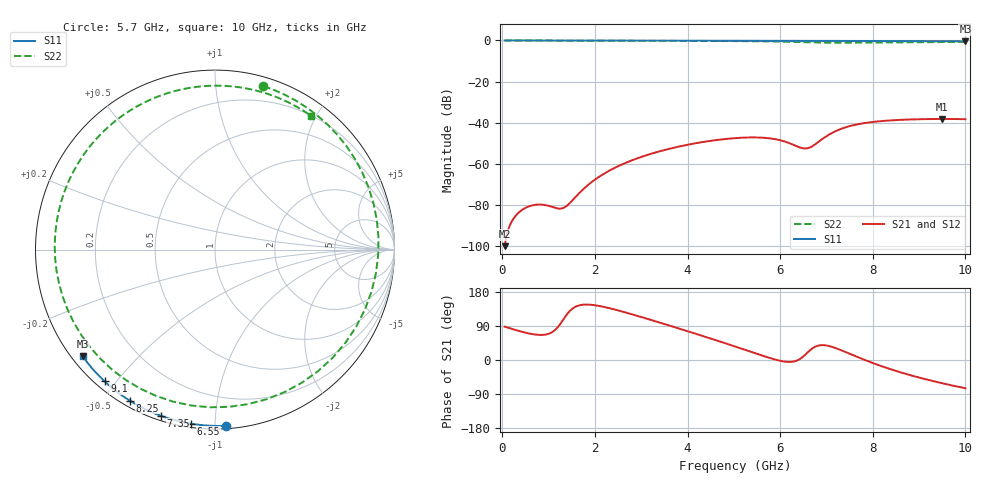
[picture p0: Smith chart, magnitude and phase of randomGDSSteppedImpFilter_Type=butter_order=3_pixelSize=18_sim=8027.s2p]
! freq	dB(S11)	phase(S11)	dB(S12)	phase(S12)
!  dB(S21)	phase(S21)	dB(S22)	phase(S22)
!S-par simulation data
#  GHz  S  DB  R 50
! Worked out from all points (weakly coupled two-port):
!   200 points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, 50 MHz to 10 GHz, reference 50 ohm
!   highest |S21| = -38.19 dB at 9.5 GHz (marker M1); lowest = -100.1 dB at 50 MHz (marker M2)
!   lowest |S11| = -0.5 dB at 10 GHz (marker M3), VSWR 36.68, Z = 1.53 - j17.6 ohm
!   |S11| at or under -10 dB: nowhere
!   |S22| runs from -1.1 to 0.0 dB; largest |S21 - S12| = 0
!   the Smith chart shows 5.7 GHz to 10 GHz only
!   S11 on the Smith chart (normalised r, x): 5.7 GHz: 0.02, -1.06; 6.55 GHz: 0.02, -0.87; 7.35 GHz: 0.02, -0.72; 8.25 GHz: 0.02, -0.58; 9.1 GHz: 0.03, -0.47; 10 GHz: 0.03, -0.35
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0.05  -0.00 -0.8  -100.06 88.1  -100.06 88.1  -0.00 -3.1
0.75  -0.02 -12.2  -79.84 66.6  -79.84 66.6  -0.06 -45.4
1.4  -0.03 -22.7  -80.32 121.2  -80.32 121.2  -0.10 -81.3
1.75  -0.04 -28.2  -72.31 146.0  -72.31 146.0  -0.11 -98.9
2.6  -0.05 -41.5  -60.16 127.5  -60.16 127.5  -0.14 -137.5
3.4  -0.07 -53.6  -53.90 98.7  -53.90 98.7  -0.17 -170.5
4.25  -0.09 -66.1  -49.70 66.4  -49.70 66.4  -0.22 154.2
5.05  -0.12 -77.5  -47.47 34.7  -47.47 34.7  -0.30 115.5
5.7  -0.14 -86.4  -47.44 8.3  -47.44 8.3  -0.45 73.5
6.1  -0.16 -91.8  -49.17 -4.2  -49.17 -4.2  -0.61 38.1
6.35  -0.17 -95.1  -51.37 -2.0  -51.37 -2.0  -0.76 10.5
6.55  -0.18 -97.8  -52.55 14.9  -52.55 14.9  -0.89 -14.9
6.7  -0.19 -99.7  -51.35 31.1  -51.35 31.1  -0.98 -35.4
7  -0.21 -103.6  -46.57 38.3  -46.57 38.3  -1.10 -78.0
7.35  -0.23 -108.1  -42.72 24.2  -42.72 24.2  -1.11 -124.4
7.75  -0.26 -113.2  -40.45 3.9  -40.45 3.9  -1.02 -167.6
8.25  -0.30 -119.5  -39.10 -18.8  -39.10 -18.8  -0.91 151.2
8.35  -0.31 -120.7  -38.94 -22.9  -38.94 -22.9  -0.89 144.2
8.7  -0.34 -125.1  -38.52 -36.2  -38.52 -36.2  -0.84 121.8
9.1  -0.38 -130.0  -38.27 -49.5  -38.27 -49.5  -0.80 99.1
9.5  -0.42 -134.9  -38.19 -61.4  -38.19 -61.4  -0.77 78.5
10  -0.47 -141.1  -38.29 -74.6  -38.29 -74.6  -0.75 54.4
